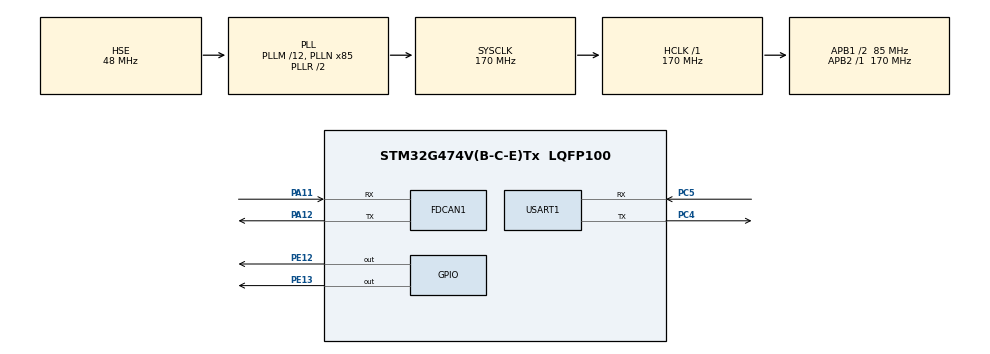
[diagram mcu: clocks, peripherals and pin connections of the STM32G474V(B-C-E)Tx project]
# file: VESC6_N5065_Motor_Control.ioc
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FDCAN1.NominalPrescaler=20
FDCAN1.NominalTimeSeg1=13
FDCAN1.NominalTimeSeg2=3
Mcu.Family=STM32G4
Mcu.Name=STM32G474V(B-C-E)Tx
Mcu.Package=LQFP100
NVIC.FDCAN1_IT0_IRQn=true\:0\:0\:false\:false\:true\:true\:true\:true
NVIC.PriorityGroup=NVIC_PRIORITYGROUP_4
NVIC.TIM1_UP_TIM16_IRQn=true\:15\:0\:false\:false\:true\:false\:true\:true
NVIC.TIM2_IRQn=true\:0\:0\:false\:false\:true\:true\:true\:true
NVIC.TimeBase=TIM1_UP_TIM16_IRQn
NVIC.TimeBaseIP=TIM1
NVIC.USART1_IRQn=true\:0\:0\:false\:false\:true\:true\:true\:true
PA11.Mode=FDCAN_Activate
PA11.Signal=FDCAN1_RX
PA12.Mode=FDCAN_Activate
PA12.Signal=FDCAN1_TX
PA13.Mode=Serial_Wire
PA13.Signal=SYS_JTMS-SWDIO
PA14.Mode=Serial_Wire
PA14.Signal=SYS_JTCK-SWCLK
PC4.Mode=Asynchronous
PC4.Signal=USART1_TX
PC5.Mode=Asynchronous
PC5.Signal=USART1_RX
PE12.Signal=GPIO_Output
PE13.Signal=GPIO_Output
PF0-OSC_IN.Mode=HSE-External-Oscillator
PF0-OSC_IN.Signal=RCC_OSC_IN
PF1-OSC_OUT.Mode=HSE-External-Oscillator
PF1-OSC_OUT.Signal=RCC_OSC_OUT
ProjectManager.HeapSize=0x200
ProjectManager.StackSize=0x400
ProjectManager.TargetToolchain=STM32CubeIDE
RCC.ADC12Freq_Value=170000000
RCC.ADC345Freq_Value=170000000
RCC.AHBFreq_Value=170000000
RCC.APB1CLKDivider=RCC_HCLK_DIV2
RCC.APB1Freq_Value=85000000
RCC.APB1TimFreq_Value=170000000
RCC.APB2Freq_Value=170000000
RCC.APB2TimFreq_Value=170000000
RCC.CortexFreq_Value=170000000
RCC.EXTERNAL_CLOCK_VALUE=12288000
RCC.HCLKFreq_Value=170000000
RCC.HSE_VALUE=48000000
RCC.HSI48_VALUE=48000000
RCC.HSI_VALUE=16000000
RCC.LSE_VALUE=32768
RCC.PLLM=RCC_PLLM_DIV12
RCC.PLLN=85
RCC.PLLQ=RCC_PLLQ_DIV4
RCC.PLLSourceVirtual=RCC_PLLSOURCE_HSE
RCC.SYSCLKFreq_VALUE=170000000
RCC.SYSCLKSource=RCC_SYSCLKSOURCE_PLLCLK
RCC.USBFreq_Value=85000000
RCC.VCOOutputFreq_Value=340000000
TIM2.AutoReloadPreload=TIM_AUTORELOAD_PRELOAD_ENABLE
TIM2.PeriodNoDither=99
TIM2.Prescaler=16999
USART1.VirtualMode-Asynchronous=VM_ASYNC
VP_SYS_VS_DBSignals.Mode=DisableDeadBatterySignals
VP_SYS_VS_tim1.Mode=TIM1
VP_TIM2_VS_ClockSourceINT.Mode=Internal
board=custom

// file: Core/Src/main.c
/* USER CODE BEGIN Header */
/**
  ******************************************************************************
  * @file           : main.c
  * @brief          : Main program body
  ******************************************************************************
  * @attention
  *
  * Copyright (c) 2025 STMicroelectronics.
  * All rights reserved.
  *
  * This software is licensed under terms that can be found in the LICENSE file
  * in the root directory of this software component.
  * If no LICENSE file comes with this software, it is provided AS-IS.
  *
  ******************************************************************************
  */
/* USER CODE END Header */
#include "main.h"

/* USER CODE BEGIN Includes */
#include "motor_control.h"
#include "can_communication.h"
#include "vofa_protocol.h"
/* USER CODE END Includes */

/* USER CODE BEGIN PD */
// LED引脚定义
#define LED1_GPIO_Port GPIOE
#define LED1_Pin GPIO_PIN_12
#define LED2_GPIO_Port GPIOE
#define LED2_Pin GPIO_PIN_13

// LED控制宏
#define LED1_ON()  HAL_GPIO_WritePin(LED1_GPIO_Port, LED1_Pin, GPIO_PIN_SET)
#define LED1_OFF() HAL_GPIO_WritePin(LED1_GPIO_Port, LED1_Pin, GPIO_PIN_RESET)
#define LED1_TOGGLE() HAL_GPIO_TogglePin(LED1_GPIO_Port, LED1_Pin)

#define LED2_ON()  HAL_GPIO_WritePin(LED2_GPIO_Port, LED2_Pin, GPIO_PIN_SET)
#define LED2_OFF() HAL_GPIO_WritePin(LED2_GPIO_Port, LED2_Pin, GPIO_PIN_RESET)
#define LED2_TOGGLE() HAL_GPIO_TogglePin(LED2_GPIO_Port, LED2_Pin)
/* USER CODE END PD */

FDCAN_HandleTypeDef hfdcan1;

TIM_HandleTypeDef htim2;

UART_HandleTypeDef huart1;

/* USER CODE BEGIN PV */
static uint32_t vofa_send_counter = 0;
/* USER CODE END PV */

void SystemClock_Config(void);
static void MX_GPIO_Init(void);
static void MX_FDCAN1_Init(void);
static void MX_TIM2_Init(void);
static void MX_USART1_UART_Init(void);
/* USER CODE BEGIN PFP */
static void LED_Init(void);
/* USER CODE END PFP */

int main(void)
{

    /* MCU Configuration--------------------------------------------------------*/

    /* Reset of all peripherals, Initializes the Flash interface and the Systick. */
    HAL_Init();

    /* Configure the system clock */
    SystemClock_Config();

    /* Initialize all configured peripherals */
    MX_GPIO_Init();
    MX_FDCAN1_Init();
    MX_TIM2_Init();
    MX_USART1_UART_Init();
    /* USER CODE BEGIN 2 */
    // 初始化LED
    LED_Init();

    // LED开机测试 - 所有LED亮2秒CAN_ReceiveCallback
    LED1_ON();
    LED2_ON();
    HAL_Delay(2000);
    LED1_OFF();
    LED2_OFF();
    HAL_Delay(500);

    // 快速闪烁3次表示系统启动
    for(int i = 0; i < 3; i++) {
        LED1_ON();
        LED2_ON();
        HAL_Delay(200);
        LED1_OFF();
        LED2_OFF();
        HAL_Delay(200);
    }

    // 初始化电机控制
    MotorControl_Init();

    // 启动定时器中断
    HAL_TIM_Base_Start_IT(&htim2);
    /* USER CODE END 2 */

    /* Infinite loop */
    while (1)
    {

    }
}

void SystemClock_Config(void)
{
    RCC_OscInitTypeDef RCC_OscInitStruct = {0};
    RCC_ClkInitTypeDef RCC_ClkInitStruct = {0};

    /** Configure the main internal regulator output voltage
    */
    HAL_PWREx_ControlVoltageScaling(PWR_REGULATOR_VOLTAGE_SCALE1_BOOST);

    /** Initializes the RCC Oscillators according to the specified parameters
    * in the RCC_OscInitTypeDef structure.
    */
    RCC_OscInitStruct.OscillatorType = RCC_OSCILLATORTYPE_HSE;
    RCC_OscInitStruct.HSEState = RCC_HSE_ON;
    RCC_OscInitStruct.PLL.PLLState = RCC_PLL_ON;
    RCC_OscInitStruct.PLL.PLLSource = RCC_PLLSOURCE_HSE;
    RCC_OscInitStruct.PLL.PLLM = RCC_PLLM_DIV12;
    RCC_OscInitStruct.PLL.PLLN = 85;
    RCC_OscInitStruct.PLL.PLLP = RCC_PLLP_DIV2;
    RCC_OscInitStruct.PLL.PLLQ = RCC_PLLQ_DIV4;
    RCC_OscInitStruct.PLL.PLLR = RCC_PLLR_DIV2;
    if (HAL_RCC_OscConfig(&RCC_OscInitStruct) != HAL_OK)
    {
        Error_Handler();
    }

    /** Initializes the CPU, AHB and APB buses clocks
    */
    RCC_ClkInitStruct.ClockType = RCC_CLOCKTYPE_HCLK|RCC_CLOCKTYPE_SYSCLK
                                  |RCC_CLOCKTYPE_PCLK1|RCC_CLOCKTYPE_PCLK2;
    RCC_ClkInitStruct.SYSCLKSource = RCC_SYSCLKSOURCE_PLLCLK;
    RCC_ClkInitStruct.AHBCLKDivider = RCC_SYSCLK_DIV1;
    RCC_ClkInitStruct.APB1CLKDivider = RCC_HCLK_DIV2;
    RCC_ClkInitStruct.APB2CLKDivider = RCC_HCLK_DIV1;

    if (HAL_RCC_ClockConfig(&RCC_ClkInitStruct, FLASH_LATENCY_4) != HAL_OK)
    {
        Error_Handler();
    }
}

static void MX_FDCAN1_Init(void)
{

    hfdcan1.Instance = FDCAN1;
    hfdcan1.Init.ClockDivider = FDCAN_CLOCK_DIV1;
    hfdcan1.Init.FrameFormat = FDCAN_FRAME_CLASSIC;
    hfdcan1.Init.Mode = FDCAN_MODE_NORMAL;
    hfdcan1.Init.AutoRetransmission = DISABLE;
    hfdcan1.Init.TransmitPause = DISABLE;
    hfdcan1.Init.ProtocolException = DISABLE;
    hfdcan1.Init.NominalPrescaler = 5;
    hfdcan1.Init.NominalSyncJumpWidth = 1;
    hfdcan1.Init.NominalTimeSeg1 = 13;
    hfdcan1.Init.NominalTimeSeg2 = 3;
    hfdcan1.Init.DataPrescaler = 1;
    hfdcan1.Init.DataSyncJumpWidth = 1;
    hfdcan1.Init.DataTimeSeg1 = 1;
    hfdcan1.Init.DataTimeSeg2 = 1;
    hfdcan1.Init.StdFiltersNbr = 0;
    hfdcan1.Init.ExtFiltersNbr = 0;
    hfdcan1.Init.TxFifoQueueMode = FDCAN_TX_FIFO_OPERATION;
    if (HAL_FDCAN_Init(&hfdcan1) != HAL_OK)
    {
        Error_Handler();
    }

}

static void MX_TIM2_Init(void)
{

    TIM_ClockConfigTypeDef sClockSourceConfig = {0};
    TIM_MasterConfigTypeDef sMasterConfig = {0};

    htim2.Instance = TIM2;
    /* (170MHz / (169 + 1)) / (999 + 1) = 1000 Hz */
    htim2.Init.Prescaler = 169;
    htim2.Init.CounterMode = TIM_COUNTERMODE_UP;
    htim2.Init.Period = 999;
    htim2.Init.ClockDivision = TIM_CLOCKDIVISION_DIV1;
    htim2.Init.AutoReloadPreload = TIM_AUTORELOAD_PRELOAD_ENABLE;
    if (HAL_TIM_Base_Init(&htim2) != HAL_OK)
    {
        Error_Handler();
    }
    sClockSourceConfig.ClockSource = TIM_CLOCKSOURCE_INTERNAL;
    if (HAL_TIM_ConfigClockSource(&htim2, &sClockSourceConfig) != HAL_OK)
    {
        Error_Handler();
    }
    sMasterConfig.MasterOutputTrigger = TIM_TRGO_RESET;
    sMasterConfig.MasterSlaveMode = TIM_MASTERSLAVEMODE_DISABLE;
    if (HAL_TIMEx_MasterConfigSynchronization(&htim2, &sMasterConfig) != HAL_OK)
    {
        Error_Handler();
    }

}

static void MX_USART1_UART_Init(void)
{

    huart1.Instance = USART1;
    huart1.Init.BaudRate = 115200;
    huart1.Init.WordLength = UART_WORDLENGTH_8B;
    huart1.Init.StopBits = UART_STOPBITS_1;
    huart1.Init.Parity = UART_PARITY_NONE;
    huart1.Init.Mode = UART_MODE_TX_RX;
    huart1.Init.HwFlowCtl = UART_HWCONTROL_NONE;
    huart1.Init.OverSampling = UART_OVERSAMPLING_16;
    huart1.Init.OneBitSampling = UART_ONE_BIT_SAMPLE_DISABLE;
    huart1.Init.ClockPrescaler = UART_PRESCALER_DIV1;
    huart1.AdvancedInit.AdvFeatureInit = UART_ADVFEATURE_NO_INIT;
    if (HAL_UART_Init(&huart1) != HAL_OK)
    {
        Error_Handler();
    }
    if (HAL_UARTEx_SetTxFifoThreshold(&huart1, UART_TXFIFO_THRESHOLD_1_8) != HAL_OK)
    {
        Error_Handler();
    }
    if (HAL_UARTEx_SetRxFifoThreshold(&huart1, UART_RXFIFO_THRESHOLD_1_8) != HAL_OK)
    {
        Error_Handler();
    }
    if (HAL_UARTEx_DisableFifoMode(&huart1) != HAL_OK)
    {
        Error_Handler();
    }

}

static void MX_GPIO_Init(void)
{
    GPIO_InitTypeDef GPIO_InitStruct = {0};

    /* GPIO Ports Clock Enable */
    __HAL_RCC_GPIOF_CLK_ENABLE();
    __HAL_RCC_GPIOC_CLK_ENABLE();
    __HAL_RCC_GPIOE_CLK_ENABLE();
    __HAL_RCC_GPIOA_CLK_ENABLE();

    /*Configure GPIO pin Output Level */
    HAL_GPIO_WritePin(GPIOE, GPIO_PIN_12|GPIO_PIN_13, GPIO_PIN_RESET);

    /*Configure GPIO pins : PE12 PE13 */
    GPIO_InitStruct.Pin = GPIO_PIN_12|GPIO_PIN_13;
    GPIO_InitStruct.Mode = GPIO_MODE_OUTPUT_PP;
    GPIO_InitStruct.Pull = GPIO_NOPULL;
    GPIO_InitStruct.Speed = GPIO_SPEED_FREQ_LOW;
    HAL_GPIO_Init(GPIOE, &GPIO_InitStruct);

}

/* USER CODE BEGIN 4 */
/**
  * @brief LED初始化函数
  * @param None
  * @retval None
  */
static void LED_Init(void)
{
    GPIO_InitTypeDef GPIO_InitStruct = {0};

    /* GPIO Ports Clock Enable */
    __HAL_RCC_GPIOE_CLK_ENABLE();

    /*Configure GPIO pin Output Level */
    HAL_GPIO_WritePin(GPIOE, LED1_Pin|LED2_Pin, GPIO_PIN_RESET);

    /*Configure GPIO pins : LED1_Pin LED2_Pin */
    GPIO_InitStruct.Pin = LED1_Pin|LED2_Pin;
    GPIO_InitStruct.Mode = GPIO_MODE_OUTPUT_PP;
    GPIO_InitStruct.Pull = GPIO_NOPULL;
    GPIO_InitStruct.Speed = GPIO_SPEED_FREQ_LOW;
    HAL_GPIO_Init(GPIOE, &GPIO_InitStruct);
}

// FDCAN接收中断回调
void HAL_FDCAN_RxFifo0Callback(FDCAN_HandleTypeDef *hfdcan, uint32_t RxFifo0ITs) {
    if ((RxFifo0ITs & FDCAN_IT_RX_FIFO0_NEW_MESSAGE) != RESET) {
        CAN_ReceiveCallback(hfdcan);
    }
}
/* USER CODE BEGIN 4 */
// UART接收中断回调
void HAL_UART_RxCpltCallback(UART_HandleTypeDef *huart) {
    if (huart->Instance == USART1) {
        VOFA_UART_RxCallback();
    }
}
/* USER CODE END 4 */

void HAL_TIM_PeriodElapsedCallback(TIM_HandleTypeDef *htim)
{
    if (htim->Instance == TIM1) {
        HAL_IncTick();
    }
    /* USER CODE BEGIN Callback 1 */
    // 添加TIM2的处理逻辑
    if (htim->Instance == TIM2) {
        // --- 频率已改为 1000Hz (1ms) ---
        static uint32_t led_counter = 0;
        static uint32_t system_counter = 0;

        system_counter++; // 每1ms增加1

        // LED1快闪 - 每500ms闪烁一次 (500 * 1ms)
        if (++led_counter >= 500) {
            led_counter = 0;
            LED1_TOGGLE();  // LED1快闪，表示程序在运行
        }

        // LED2慢闪 - 每2秒闪烁一次 (2000 * 1ms)
        if (system_counter % 2000 == 0) {
            LED2_TOGGLE();  // LED2慢闪，表示系统正常
        }

        // 电机控制任务 - 以 1000Hz 运行
        MotorControl_Task();

        // VOFA+数据发送 - 每100ms发送一次 (100 * 1ms)
        if (++vofa_send_counter >= 100) {
            vofa_send_counter = 0;
            VOFA_SendData();
        }
    }
    /* USER CODE END Callback 1 */
}

void Error_Handler(void)
{
    /* USER CODE BEGIN Error_Handler_Debug */
    /* User can add his own implementation to report the HAL error return state */
    __disable_irq();

    // 错误指示 - 快速交替闪烁LED
    while (1)
    {
        LED1_ON();
        LED2_OFF();
        HAL_Delay(100);
        LED1_OFF();
        LED2_ON();
        HAL_Delay(100);
    }
    /* USER CODE END Error_Handler_Debug */
}
